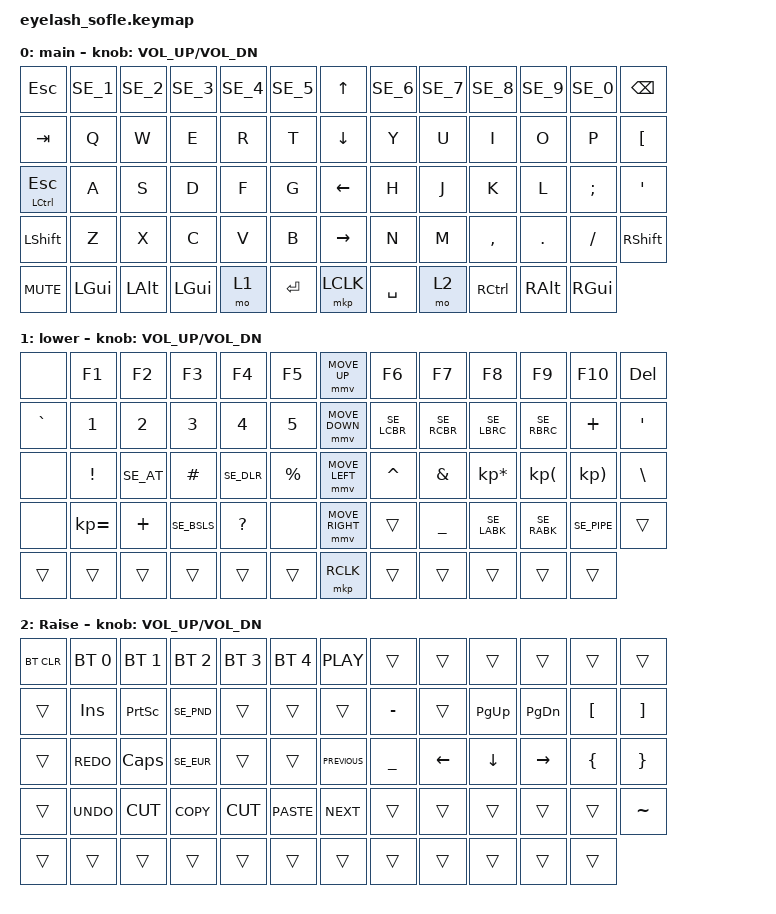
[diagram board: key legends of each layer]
#define ZMK_POINTING_DEFAULT_MOVE_VAL 1500  // default: 600
#define ZMK_POINTING_DEFAULT_SCRL_VAL 20    // default: 10

#include <dt-bindings/zmk/mouse.h>
#include <input/processors.dtsi>
#include <behaviors.dtsi>
#include <dt-bindings/zmk/bt.h>
#include <dt-bindings/zmk/keys.h>
#include <dt-bindings/zmk/pointing.h>
#include <dt-bindings/zmk/pointing.h>
#include <dt-bindings/zmk/rgb.h>
#include "keys-swedish.h"

/*

   &mmv_input_listener {
       input-processors = <&zip_xy_scaler 2 1>;
   };

   &msc_input_listener {
       input-processors = <&zip_xy_scaler 2 1>;
   };

 */

#define ZMK_MOUSE_DEFAULT_MOVE_VAL 1200  // 600
#define ZMK_MOUSE_DEFAULT_SCRL_VAL 20    // 10

/ {
    behaviors {
        mmv {
            acceleration-exponent = <1>;      // 1
            time-to-max-speed-ms = <900>;    // 40
            delay-ms = <0>;                   // 0
        };

        msc {
            acceleration-exponent = <1>;      // 0
            time-to-max-speed-ms = <400>;      // 500
            delay-ms = <0>;                   //   10
        };

        esc_ctrl: escape_control {
            compatible = "zmk,behavior-hold-tap";
            label = "ESC_CTRL";
            #binding-cells = <2>;
            flavor = "tap-preferred";  // This is crucial for escape/control
            tapping-term-ms = <200>;
            quick-tap-ms = <175>;
            bindings = <&kp>, <&kp>;
        };
    };

    scroll_encoder: scroll_encoder {
        compatible = "zmk,behavior-sensor-rotate";
        #sensor-binding-cells = <0>;
        bindings = <&msc SCRL_DOWN>, <&msc SCRL_UP>;

        tap-ms = <30>;
    };

    SandS: SandS {
        compatible = "zmk,behavior-hold-tap";
        label = "SANDS";
        bindings = <&kp>, <&kp>;

        #binding-cells = <2>;
        tapping-term-ms = <200>;
        flavor = "hold-preferred";
        retro-tap;
    };

    keymap {
        compatible = "zmk,keymap";

        layer_0 {
// ------------------------------------------------------------------------------------------------------------
// |  ESC  |  1  |  2  |  3   |  4   |  5   |                   |  6   |  7    |  8    |  9   |   0   | BKSPC |
// |  TAB  |  Q  |  W  |  E   |  R   |  T   |                   |  Y   |  U    |  I    |  O   |   P   |   Å   |
// | SHIFT |  A  |  S  |  D   |  F   |  G   |                   |  H   |  J    |  K    |  L   |   Ö   |   Ä   |
// | LCTRL |  Z  |  X  |  C   |  V   |  B   |  MUTE  |  |  JOY  |  N   |  M    |  ,    |  .   |   -   | SHIFT |
//               | GUI | ALT  | CTRL | LOWER|  SPACE |  | ENTER | RAISE| CTRL  | ALT   | GUI  |

            bindings = <
&kp ESCAPE       &kp SE_1      &kp SE_2      &kp SE_3        &kp SE_4      &kp SE_5       &kp UP_ARROW       &kp SE_6      &kp SE_7      &kp SE_8           &kp SE_9      &kp SE_0       &kp BACKSPACE
&kp TAB          &kp Q         &kp W         &kp E           &kp R         &kp T          &kp DOWN_ARROW     &kp Y         &kp U         &kp I              &kp O         &kp P          &kp LBKT
&mt LCTRL ESC    &kp A         &kp S         &kp D           &kp F         &kp G          &kp LEFT_ARROW     &kp H         &kp J         &kp K              &kp L         &kp SEMICOLON  &kp SQT
&kp LSHFT        &kp Z         &kp X         &kp C           &kp V         &kp B          &kp RIGHT_ARROW    &kp N         &kp M         &kp COMMA          &kp PERIOD    &kp FSLH       &kp RIGHT_SHIFT
&kp C_MUTE       &kp LEFT_GUI  &kp LEFT_ALT  &kp LEFT_GUI    &mo 1         &kp ENTER      &mkp LCLK    	     &kp SPACE     &mo 2         &kp RIGHT_CONTROL  &kp RIGHT_ALT &kp RIGHT_GUI
            >;

            sensor-bindings = <&inc_dec_kp C_VOLUME_UP C_VOL_DN>;
            display-name = "main";
        };

        layer_1 {
// ------------------------------------------------------------------------------------------------------------
// |       |  F1 |  F2 |  F3  |  F4  |  F5  |                   |  F6  |  F7   |  F8   |  F9  |  F10  |  DEL  |
// |   §   |  1  |  2  |  3   |  4   |  5   |                   |  {   |   }   |  [    |  ]   |   `   |       |
// |       |  !  |  @  |  #   |  $   |  %   |                   |  &   |   /   |  *    |  (   |   )   |   '   |
// |       |  =  |  +  |  \   |  _   |      |        |  |  MUS  |      |   <   |  >    |  |   |       |       |
//               |     |      |      |      |        |  |       |      |       |       |      |

            display-name = "lower";
            bindings = <
&none            &kp F1        &kp F2        &kp F3          &kp F4                 &kp F5           &mmv MOVE_UP     	   &kp F6             &kp F7             &kp F8                &kp F9                 &kp F10                &kp DELETE
&kp GRAVE        &kp N1        &kp N2        &kp N3          &kp N4                 &kp N5           &mmv MOVE_DOWN         &kp SE_LCBR        &kp SE_RCBR        &kp SE_LBRC           &kp SE_RBRC            &kp PLUS               &kp SQT
&none            &kp EXCL      &kp SE_AT     &kp POUND       &kp SE_DLR             &kp PERCENT      &mmv MOVE_LEFT         &kp CARET          &kp AMPS           &kp KP_MULTIPLY       &kp KP_LPAR            &kp KP_RPAR            &kp BACKSLASH
&none 	 	     &kp KP_EQUAL  &kp PLUS      &kp SE_BSLS     &kp QUESTION           &none            &mmv MOVE_RIGHT        &trans             &kp UNDER          &kp SE_LABK           &kp SE_RABK            &kp SE_PIPE            &trans
&trans           &trans        &trans        &trans          &trans                 &trans           &mkp RCLK                 &trans             &trans             &trans                &trans                 &trans
            >;

            sensor-bindings = <&inc_dec_kp C_VOLUME_UP C_VOL_DN>;
        };

        layer_2 {
// ------------------------------------------------------------------------------------------------------------
// | BTCLR | BT1  | BT2  |  BT3  |  BT4  | BT5  |                |      |      |       |      |       |       |
// |       | INS  | PSCR |   £   |       |      |                | PGUP |      |   ^   |      |       |   ?   |
// |       | REDO | CAPS |   €   |       |      |                | PGDN |   <- |   v   |  ->  |       |   \   |
// |       | UNDO |  CUT | COPY  | PASTE |      |      |  |      |      |      |       |      |       |       |
//                |      |       |       |      |      |  |      |      |      |       |      |

            bindings = <
&bt BT_CLR   &bt BT_SEL 0  &bt BT_SEL 1   &bt BT_SEL 2   &bt BT_SEL 3   &bt BT_SEL 4    &kp C_PLAY     &trans       &trans            &trans          &trans           &trans     &trans
&trans       &kp INSERT    &kp PSCRN      &kp SE_PND     &trans         &trans          &trans         &kp MINUS    &trans            &kp PG_UP       &kp PG_DN      &kp LBKT   &kp RBKT
&trans       &kp K_REDO    &kp CAPS       &kp SE_EUR     &trans         &trans          &kp C_PREVIOUS &kp UNDER    &kp LEFT_ARROW    &kp DOWN_ARROW  &kp RIGHT_ARROW  &kp LEFT_BRACE   &kp RIGHT_BRACE
&trans       &kp K_UNDO    &kp K_CUT      &kp K_COPY     &kp K_CUT      &kp K_PASTE     &kp C_NEXT     &trans       &trans            &trans          &trans           &trans     &kp TILDE
&trans       &trans        &trans         &trans         &trans         &trans          &trans         &trans       &trans            &trans          &trans           &trans
            >;

   			display-name = "Raise";
            sensor-bindings = <&inc_dec_kp C_VOLUME_UP C_VOL_DN>;
        };
    };
};
